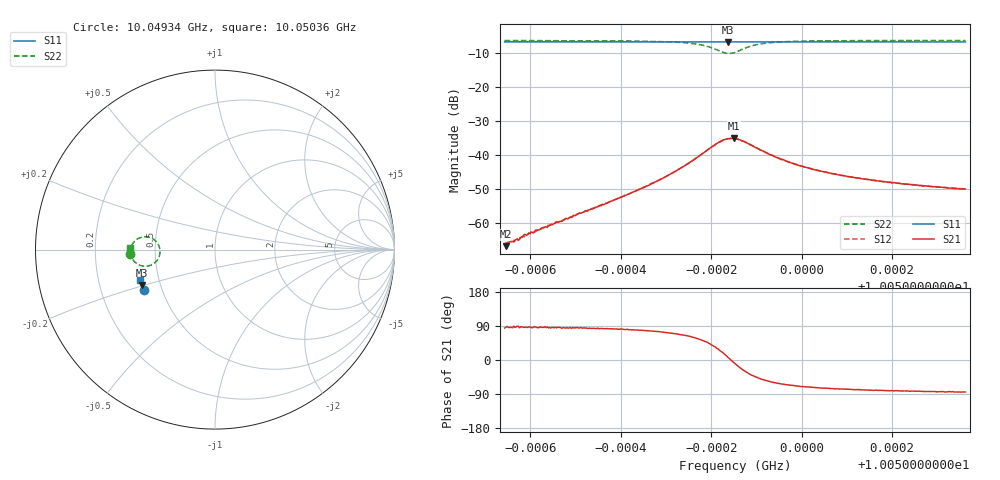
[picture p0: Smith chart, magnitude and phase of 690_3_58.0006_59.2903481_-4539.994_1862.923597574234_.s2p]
#  HZ  S  RI  R  50.00
! Rohde & Schwarz Vector Network Analyzer
! Rohde-Schwarz,ZNB20-2Port,1311601062101988,3.16
! Created: UTC 3/21/2024, 1:21:14 AM
! freq[Hz]  re:S11  im:S11  re:S21  im:S21  re:S12  im:S12  re:S22  im:S22
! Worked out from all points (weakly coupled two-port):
!   401 points, 10.04934 GHz to 10.05036 GHz, reference 50 ohm
!   highest |S21| = -35.09 dB at 10.04985 GHz (marker M1); lowest = -66.7 dB at 10.04935 GHz (marker M2)
!   lowest |S11| = -6.9 dB at 10.04984 GHz (marker M3), VSWR 2.65, Z = 19.8 - j9.82 ohm
!   |S11| at or under -10 dB: nowhere
!   |S22| runs from -10.3 to -6.5 dB; largest |S21 - S12| = 0.0012
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1.0049343e10  -0.393 -0.2277  4.7e-05 0.000481  -4.34e-06 0.000482  -0.4738 -0.0224
1.0049346e10  -0.3931 -0.2273  3.18e-05 0.000463  2.73e-05 0.000514  -0.4739 -0.0222
1.0049358e10  -0.3934 -0.2267  4.07e-05 0.000565  1.05e-05 0.000533  -0.4738 -0.0209
1.0049371e10  -0.3938 -0.2261  8.72e-06 0.000594  2.41e-06 0.000584  -0.4735 -0.0196
1.0049384e10  -0.3943 -0.2252  4.25e-05 0.000652  1.08e-05 0.000648  -0.4738 -0.0182
1.0049435e10  -0.396 -0.2222  7.38e-05 0.000891  4.57e-06 0.000906  -0.4731 -0.0124
1.0049514e10  -0.3982 -0.2175  0.000135 0.00142  7.16e-05 0.00146  -0.4717 -0.00219
1.0049618e10  -0.4014 -0.2113  0.000469 0.00265  0.000316 0.00268  -0.4669 0.0162
1.0049684e10  -0.4032 -0.2072  0.00113 0.00413  0.000927 0.00421  -0.4578 0.0339
1.0049743e10  -0.4047 -0.2034  0.00305 0.00638  0.00266 0.0066  -0.4355 0.0567
1.0049794e10  -0.4055 -0.2  0.00874 0.00861  0.00811 0.00902  -0.3779 0.071
1.0049819e10  -0.4056 -0.1987  0.0142 0.00648  0.0139 0.0074  -0.3282 0.0454
1.0049837e10  -0.4057 -0.1979  0.0173 0.00205  0.017 0.00316  -0.3066 -0.00137
1.004985e10  -0.4059 -0.1977  0.0175 -0.00212  0.0174 -0.00107  -0.3116 -0.04
1.0049852e10  -0.4061 -0.1976  0.0171 -0.00291  0.0172 -0.00175  -0.3146 -0.0471
1.0049878e10  -0.4071 -0.1966  0.0128 -0.008  0.0133 -0.00729  -0.3631 -0.089
1.0049914e10  -0.4086 -0.1947  0.00717 -0.00899  0.0077 -0.00842  -0.4189 -0.0874
1.004997e10  -0.4105 -0.1914  0.00328 -0.00725  0.00379 -0.00705  -0.4537 -0.0618
1.0050023e10  -0.4121 -0.1879  0.00192 -0.00592  0.00228 -0.00582  -0.4649 -0.0435
1.0050102e10  -0.4142 -0.1832  0.00107 -0.00472  0.00137 -0.00467  -0.4712 -0.0254
1.0050194e10  -0.4164 -0.1775  0.000604 -0.00394  0.000866 -0.00393  -0.474 -0.011
1.0050362e10  -0.4203 -0.1671  0.000306 -0.00316  0.000461 -0.00317  -0.4751 0.00808
